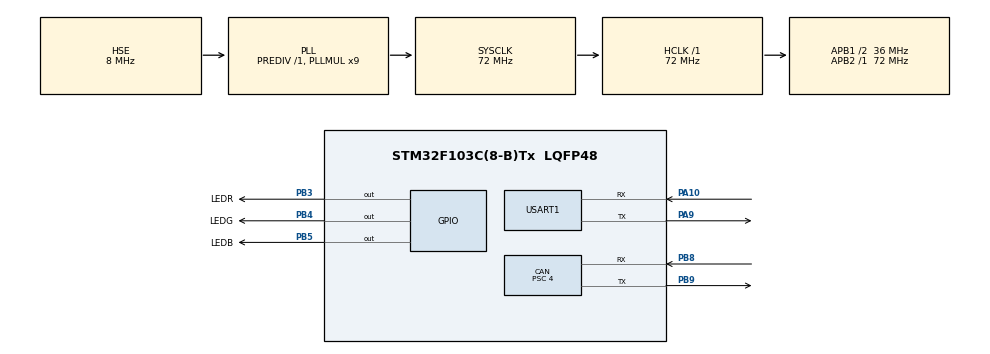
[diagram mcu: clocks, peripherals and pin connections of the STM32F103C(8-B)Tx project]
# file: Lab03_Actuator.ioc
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CAN.BS1=CAN_BS1_13TQ
CAN.BS2=CAN_BS2_4TQ
CAN.CalculateBaudRate=500000
CAN.CalculateTimeBit=2000
CAN.CalculateTimeQuantum=111.11111111111111
CAN.Prescaler=4
CAN.SJW=CAN_SJW_2TQ
Mcu.Family=STM32F1
Mcu.Name=STM32F103C(8-B)Tx
Mcu.Package=LQFP48
NVIC.CAN1_RX1_IRQn=true\:0\:0\:false\:false\:true\:true\:true\:true
NVIC.CAN1_SCE_IRQn=true\:0\:0\:false\:false\:true\:true\:true\:true
NVIC.PriorityGroup=NVIC_PRIORITYGROUP_4
NVIC.USB_HP_CAN1_TX_IRQn=true\:0\:0\:false\:false\:true\:true\:true\:true
NVIC.USB_LP_CAN1_RX0_IRQn=true\:0\:0\:false\:false\:true\:true\:true\:true
PA10.Mode=Asynchronous
PA10.Signal=USART1_RX
PA13.Mode=Serial_Wire
PA13.Signal=SYS_JTMS-SWDIO
PA14.Mode=Serial_Wire
PA14.Signal=SYS_JTCK-SWCLK
PA9.Mode=Asynchronous
PA9.Signal=USART1_TX
PB3.GPIO_Label=LEDR
PB3.Signal=GPIO_Output
PB4.GPIO_Label=LEDG
PB4.Signal=GPIO_Output
PB5.GPIO_Label=LEDB
PB5.Signal=GPIO_Output
PB8.Mode=CAN_Activate
PB8.Signal=CAN_RX
PB9.Mode=CAN_Activate
PB9.Signal=CAN_TX
PD0-OSC_IN.Mode=HSE-External-Oscillator
PD0-OSC_IN.Signal=RCC_OSC_IN
PD1-OSC_OUT.Mode=HSE-External-Oscillator
PD1-OSC_OUT.Signal=RCC_OSC_OUT
ProjectManager.HeapSize=0x200
ProjectManager.StackSize=0x400
ProjectManager.TargetToolchain=STM32CubeIDE
RCC.AHBFreq_Value=72000000
RCC.APB1CLKDivider=RCC_HCLK_DIV2
RCC.APB1Freq_Value=36000000
RCC.APB1TimFreq_Value=72000000
RCC.APB2Freq_Value=72000000
RCC.APB2TimFreq_Value=72000000
RCC.HCLKFreq_Value=72000000
RCC.PLLMUL=RCC_PLL_MUL9
RCC.PLLSourceVirtual=RCC_PLLSOURCE_HSE
RCC.SYSCLKFreq_VALUE=72000000
RCC.SYSCLKSource=RCC_SYSCLKSOURCE_PLLCLK
RCC.USBFreq_Value=72000000
USART1.VirtualMode=VM_ASYNC
board=custom

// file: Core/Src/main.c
/* USER CODE BEGIN Header */
/**
 ******************************************************************************
 * @file           : main.c
 * @brief          : Main program body
 ******************************************************************************
 * @attention
 *
 * Copyright (c) 2024 STMicroelectronics.
 * All rights reserved.
 *
 * This software is licensed under terms that can be found in the LICENSE file
 * in the root directory of this software component.
 * If no LICENSE file comes with this software, it is provided AS-IS.
 *
 ******************************************************************************
 */
/* USER CODE END Header */
#include "main.h"

/* USER CODE BEGIN Includes */
#include <stdio.h>
#include "CANCom.h"
#include "crc.h"
/* USER CODE END Includes */

CAN_HandleTypeDef hcan;

UART_HandleTypeDef huart1;

/* USER CODE BEGIN PV */
uint8_t MsgCounter;
uint8_t SendBuf[8];
/* USER CODE END PV */

void SystemClock_Config(void);
static void MX_GPIO_Init(void);
static void MX_CAN_Init(void);
static void MX_USART1_UART_Init(void);

int main(void)
{

  /* MCU Configuration--------------------------------------------------------*/

  /* Reset of all peripherals, Initializes the Flash interface and the Systick. */
  HAL_Init();

  /* Configure the system clock */
  SystemClock_Config();

  /* Initialize all configured peripherals */
  MX_GPIO_Init();
  MX_CAN_Init();
  MX_USART1_UART_Init();
  /* USER CODE BEGIN 2 */
	CANCom_Init();
//	uint8_t val1 = 0,val2 = 0;
	int crc_val = 0;
	HAL_GPIO_WritePin(LEDG_GPIO_Port, LEDG_Pin, GPIO_PIN_SET); //turn off led
  /* USER CODE END 2 */

  /* Infinite loop */
  /* USER CODE BEGIN WHILE */
	while (1)
	{
		//SendBuf[0] = rand() % 255;
		//SendBuf[1] = rand() % 255;
		SendBuf[0] = 2;
		SendBuf[1] = 3;
		SendBuf[2] = SendBuf[0] + SendBuf[1];
		crc_val = calc_SAE_J1850(SendBuf, 7);
		SendBuf[7] = crc_val;
		CANCom_Transmit(SendBuf, 8);
		HAL_Delay(50);

    /* USER CODE END WHILE */

	}
}

void SystemClock_Config(void)
{
  RCC_OscInitTypeDef RCC_OscInitStruct = {0};
  RCC_ClkInitTypeDef RCC_ClkInitStruct = {0};

  /** Initializes the RCC Oscillators according to the specified parameters
  * in the RCC_OscInitTypeDef structure.
  */
  RCC_OscInitStruct.OscillatorType = RCC_OSCILLATORTYPE_HSE;
  RCC_OscInitStruct.HSEState = RCC_HSE_ON;
  RCC_OscInitStruct.HSEPredivValue = RCC_HSE_PREDIV_DIV1;
  RCC_OscInitStruct.HSIState = RCC_HSI_ON;
  RCC_OscInitStruct.PLL.PLLState = RCC_PLL_ON;
  RCC_OscInitStruct.PLL.PLLSource = RCC_PLLSOURCE_HSE;
  RCC_OscInitStruct.PLL.PLLMUL = RCC_PLL_MUL9;
  if (HAL_RCC_OscConfig(&RCC_OscInitStruct) != HAL_OK)
  {
    Error_Handler();
  }

  /** Initializes the CPU, AHB and APB buses clocks
  */
  RCC_ClkInitStruct.ClockType = RCC_CLOCKTYPE_HCLK|RCC_CLOCKTYPE_SYSCLK
                              |RCC_CLOCKTYPE_PCLK1|RCC_CLOCKTYPE_PCLK2;
  RCC_ClkInitStruct.SYSCLKSource = RCC_SYSCLKSOURCE_PLLCLK;
  RCC_ClkInitStruct.AHBCLKDivider = RCC_SYSCLK_DIV1;
  RCC_ClkInitStruct.APB1CLKDivider = RCC_HCLK_DIV2;
  RCC_ClkInitStruct.APB2CLKDivider = RCC_HCLK_DIV1;

  if (HAL_RCC_ClockConfig(&RCC_ClkInitStruct, FLASH_LATENCY_2) != HAL_OK)
  {
    Error_Handler();
  }
}

static void MX_CAN_Init(void)
{

  hcan.Instance = CAN1;
  hcan.Init.Prescaler = 4;
  hcan.Init.Mode = CAN_MODE_NORMAL;
  hcan.Init.SyncJumpWidth = CAN_SJW_2TQ;
  hcan.Init.TimeSeg1 = CAN_BS1_13TQ;
  hcan.Init.TimeSeg2 = CAN_BS2_4TQ;
  hcan.Init.TimeTriggeredMode = DISABLE;
  hcan.Init.AutoBusOff = DISABLE;
  hcan.Init.AutoWakeUp = DISABLE;
  hcan.Init.AutoRetransmission = DISABLE;
  hcan.Init.ReceiveFifoLocked = DISABLE;
  hcan.Init.TransmitFifoPriority = DISABLE;
  if (HAL_CAN_Init(&hcan) != HAL_OK)
  {
    Error_Handler();
  }

}

static void MX_USART1_UART_Init(void)
{

  huart1.Instance = USART1;
  huart1.Init.BaudRate = 115200;
  huart1.Init.WordLength = UART_WORDLENGTH_8B;
  huart1.Init.StopBits = UART_STOPBITS_1;
  huart1.Init.Parity = UART_PARITY_NONE;
  huart1.Init.Mode = UART_MODE_TX_RX;
  huart1.Init.HwFlowCtl = UART_HWCONTROL_NONE;
  huart1.Init.OverSampling = UART_OVERSAMPLING_16;
  if (HAL_UART_Init(&huart1) != HAL_OK)
  {
    Error_Handler();
  }

}

static void MX_GPIO_Init(void)
{
  GPIO_InitTypeDef GPIO_InitStruct = {0};

  /* GPIO Ports Clock Enable */
  __HAL_RCC_GPIOD_CLK_ENABLE();
  __HAL_RCC_GPIOA_CLK_ENABLE();
  __HAL_RCC_GPIOB_CLK_ENABLE();

  /*Configure GPIO pin Output Level */
  HAL_GPIO_WritePin(GPIOB, LEDR_Pin|LEDG_Pin|LEDB_Pin, GPIO_PIN_RESET);

  /*Configure GPIO pins : LEDR_Pin LEDG_Pin LEDB_Pin */
  GPIO_InitStruct.Pin = LEDR_Pin|LEDG_Pin|LEDB_Pin;
  GPIO_InitStruct.Mode = GPIO_MODE_OUTPUT_PP;
  GPIO_InitStruct.Pull = GPIO_NOPULL;
  GPIO_InitStruct.Speed = GPIO_SPEED_FREQ_LOW;
  HAL_GPIO_Init(GPIOB, &GPIO_InitStruct);

}

/* USER CODE BEGIN 4 */
void HAL_CAN_RxFifo0MsgPendingCallback(CAN_HandleTypeDef *hcan) {
	HAL_GPIO_TogglePin(LEDB_GPIO_Port, LEDB_Pin);
	CANCom_ReceiveCallback();
}
/* USER CODE END 4 */

void Error_Handler(void)
{
	__disable_irq();
	while (1) {
	}
}
